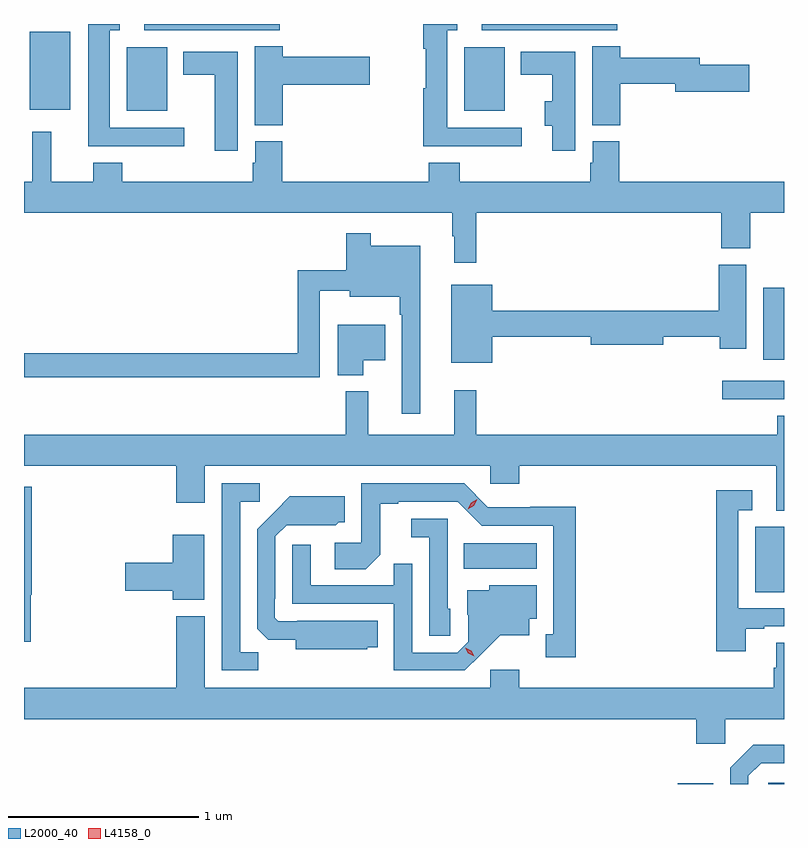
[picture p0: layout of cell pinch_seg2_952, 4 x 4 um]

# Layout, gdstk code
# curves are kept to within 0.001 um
import gdstk
lib = gdstk.Library(unit=1e-6, precision=1e-09)
def R(c, l, rs):  # rectangles x0, y0, x1, y1
    for r in rs: c.add(gdstk.rectangle(r[:2], r[2:], *l))
def P(c, l, *ps):  # polygons
    for p in ps: c.add(gdstk.Polygon(p, *l))
L2000_40 = (2000, 40)
L4158_0 = (4158, 0)

pinch_seg2_952 = lib.new_cell('pinch_seg2_952')
R(pinch_seg2_952, L2000_40, [(329.192,633.974,329.38,633.979), (329.67,633.974,329.752,633.981), (329.6,634.984,329.752,635.328), (328.066,635.108,328.45,635.242), (329.427,636,329.752,636.096), (329.642,636.206,329.752,636.586), (326.294,637.517,326.506,637.852), (328.07,637.517,328.282,637.852), (325.781,637.523,325.996,637.933), (326.385,637.941,327.098,637.974), (328.161,637.941,328.874,637.974)])
P(pinch_seg2_952, L2000_40, [(326.596,637.428),(326.203,637.428),(326.203,637.94),(326.257,637.94),(326.257,637.974),(326.09,637.974),(326.09,637.331),(326.596,637.331)],
  [(328.372,637.428),(327.979,637.428),(327.979,637.94),(328.033,637.94),(328.033,637.974),(327.854,637.974),(327.854,637.844),(327.866,637.844),(327.866,637.635),(327.854,637.635),(327.854,637.331),(328.372,637.331)],
  [(328.889,637.66),(329.18,637.66),(329.18,637.618),(329.569,637.618),(329.569,637.76),(329.308,637.76),(329.308,637.796),(328.889,637.796),(328.889,637.856),(328.742,637.856),(328.742,637.441),(328.889,637.441)],
  [(327.113,637.655),(327.571,637.655),(327.571,637.802),(327.113,637.802),(327.113,637.856),(326.966,637.856),(326.966,637.441),(327.113,637.441)],
  [(328.654,637.828),(328.367,637.828),(328.367,637.706),(328.532,637.706),(328.532,637.567),(328.493,637.567),(328.493,637.438),(328.532,637.438),(328.532,637.308),(328.654,637.308)],
  [(326.878,637.828),(326.591,637.828),(326.591,637.706),(326.756,637.706),(326.756,637.308),(326.878,637.308)],
  [(328.005,636.857),(328.016,636.857),(328.016,636.717),(328.133,636.717),(328.133,636.98),(329.423,636.98),(329.423,636.793),(329.575,636.793),(329.575,636.98),(329.752,636.98),(329.752,637.144),(328.886,637.144),(328.886,637.356),(328.745,637.356),(328.745,637.245),(328.733,637.245),(328.733,637.144),(328.046,637.144),(328.046,637.243),(327.881,637.243),(327.881,637.144),(327.11,637.144),(327.11,637.356),(326.969,637.356),(326.969,637.245),(326.957,637.245),(326.957,637.144),(326.27,637.144),(326.27,637.243),(326.117,637.243),(326.117,637.144),(325.896,637.144),(325.896,637.408),(325.796,637.408),(325.796,637.144),(325.752,637.144),(325.752,636.98),(328.005,636.98)],
  [(327.838,636.808),(327.577,636.808),(327.577,636.874),(327.448,636.874),(327.448,636.679),(327.193,636.679),(327.193,636.242),(325.752,636.242),(325.752,636.114),(327.309,636.114),(327.309,636.569),(327.467,636.569),(327.467,636.539),(327.729,636.539),(327.729,636.443),(327.741,636.443),(327.741,635.922),(327.838,635.922)],
  [(328.216,636.328),(328.736,636.328),(328.736,636.286),(329.116,636.286),(329.116,636.328),(329.413,636.328),(329.413,636.264),(329.554,636.264),(329.554,636.708),(329.408,636.708),(329.408,636.464),(328.216,636.464),(328.216,636.601),(328.001,636.601),(328.001,636.191),(328.216,636.191)],
  [(327.538,636.203),(327.652,636.203),(327.652,636.391),(327.404,636.391),(327.404,636.125),(327.538,636.125)],
  [(329.752,635.911),(329.717,635.911),(329.717,635.812),(328.133,635.812),(328.133,636.046),(328.016,636.046),(328.016,635.812),(327.563,635.812),(327.563,636.04),(327.445,636.04),(327.445,635.812),(325.752,635.812),(325.752,635.648),(326.552,635.648),(326.552,635.454),(326.704,635.454),(326.704,635.648),(328.206,635.648),(328.206,635.555),(328.358,635.555),(328.358,635.648),(329.711,635.648),(329.711,635.413),(329.752,635.413)],
  [(328.657,635.432),(328.416,635.432),(328.416,635.43),(328.194,635.43),(328.068,635.556),(327.528,635.556),(327.528,635.244),(327.387,635.244),(327.387,635.104),(327.551,635.104),(327.627,635.18),(327.627,635.448),(327.721,635.448),(327.721,635.46),(328.035,635.46),(328.161,635.334),(328.538,635.334),(328.538,634.761),(328.499,634.761),(328.499,634.641),(328.657,634.641)],
  [(326.985,634.667),(326.889,634.667),(326.889,635.46),(326.992,635.46),(326.992,635.556),(326.793,635.556),(326.793,634.572),(326.985,634.572)],
  [(325.787,634.97),(325.793,634.97),(325.793,635.538),(325.752,635.538),(325.752,634.722),(325.787,634.722)],
  [(329.551,634.791),(329.647,634.791),(329.647,634.803),(329.752,634.803),(329.752,634.899),(329.511,634.899),(329.511,635.415),(329.584,635.415),(329.584,635.521),(329.395,635.521),(329.395,634.674),(329.551,634.674)],
  [(327.558,634.694),(327.614,634.694),(327.614,634.834),(327.19,634.834),(327.19,634.83),(327.09,634.83),(327.072,634.848),(327.072,634.948),(327.075,634.948),(327.075,635.277),(327.135,635.337),(327.392,635.336),(327.408,635.352),(327.439,635.352),(327.439,635.488),(327.151,635.488),(326.979,635.314),(326.979,634.792),(327.038,634.733),(327.182,634.733),(327.182,634.682),(327.558,634.682)],
  [(327.996,634.896),(327.981,634.896),(327.981,635.37),(327.789,635.37),(327.789,635.273),(327.885,635.273),(327.885,634.753),(327.996,634.753)],
  [(326.701,635.287),(326.534,635.287),(326.534,635.138),(326.286,635.138),(326.286,634.991),(326.534,634.991),(326.534,634.943),(326.701,634.943)],
  [(328.156,634.655),(328.259,634.757),(328.411,634.757),(328.411,634.844),(328.45,634.844),(328.45,635.02),(328.2,635.02),(328.2,634.993),(328.085,634.993),(328.085,634.864),(328.089,634.864),(328.089,634.722),(328.032,634.665),(327.795,634.665),(327.795,635.132),(327.697,635.132),(327.697,635.019),(327.261,635.019),(327.261,635.233),(327.165,635.233),(327.165,634.923),(327.699,634.923),(327.699,634.572),(328.072,634.572)],
  [(329.442,634.316),(329.752,634.316),(329.752,634.718),(329.711,634.718),(329.711,634.586),(329.699,634.586),(329.699,634.48),(328.358,634.48),(328.358,634.576),(328.206,634.576),(328.206,634.48),(326.704,634.48),(326.704,634.858),(326.552,634.858),(326.552,634.48),(325.752,634.48),(325.752,634.316),(329.291,634.316),(329.291,634.185),(329.442,634.185)],
  [(329.565,634.017),(329.631,634.083),(329.752,634.083),(329.752,634.18),(329.59,634.18),(329.469,634.059),(329.469,633.974),(329.565,633.974)])
P(pinch_seg2_952, L4158_0, [(328.088,635.42),(328.088,635.42),(328.106,635.453),(328.137,635.472),(328.138,635.472),(328.138,635.472),(328.12,635.439),(328.088,635.42)],
  [(328.122,634.646),(328.091,634.661),(328.074,634.69),(328.074,634.69),(328.074,634.69),(328.105,634.676),(328.123,634.647),(328.123,634.646)])

lib.write_gds('pinch_seg2_952.gds')
